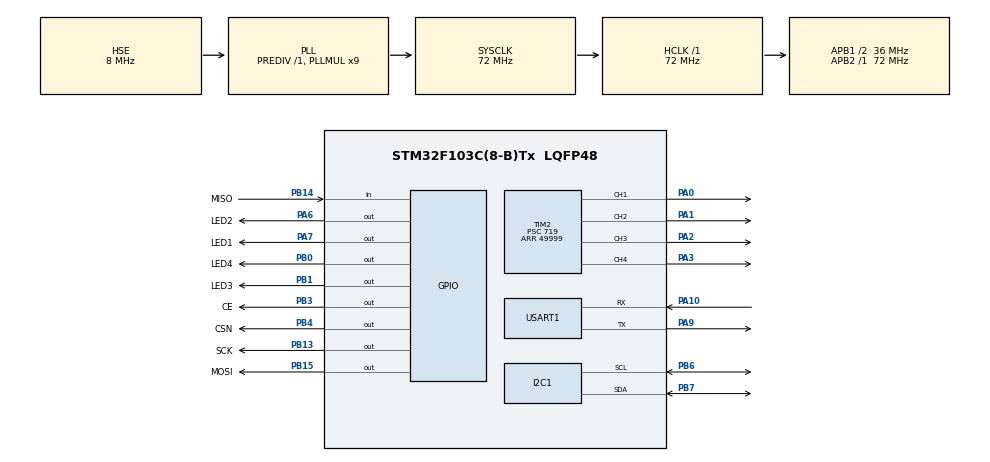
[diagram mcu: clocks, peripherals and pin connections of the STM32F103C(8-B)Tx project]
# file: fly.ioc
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FREERTOS.Tasks01=MPU6050,24,128,MPU6050Task,Default,NULL,Dynamic,NULL,NULL;NRF,8,128,NRFTask,Default,NULL,Dynamic,NULL,NULL;PID,8,128,PIDTask,Default,NULL,Dynamic,NULL,NULL
I2C1.I2C_Mode=I2C_Standard
Mcu.Family=STM32F1
Mcu.Name=STM32F103C(8-B)Tx
Mcu.Package=LQFP48
NVIC.PriorityGroup=NVIC_PRIORITYGROUP_4
PA0-WKUP.Signal=S_TIM2_CH1_ETR
PA1.Signal=S_TIM2_CH2
PA10.Mode=Asynchronous
PA10.Signal=USART1_RX
PA13.Mode=Serial_Wire
PA13.Signal=SYS_JTMS-SWDIO
PA14.Mode=Serial_Wire
PA14.Signal=SYS_JTCK-SWCLK
PA2.Signal=S_TIM2_CH3
PA3.Signal=S_TIM2_CH4
PA6.GPIO_Label=LED2
PA6.PinState=GPIO_PIN_SET
PA6.Signal=GPIO_Output
PA7.GPIO_Label=LED1
PA7.PinState=GPIO_PIN_SET
PA7.Signal=GPIO_Output
PA9.Mode=Asynchronous
PA9.Signal=USART1_TX
PB0.GPIO_Label=LED4
PB0.PinState=GPIO_PIN_SET
PB0.Signal=GPIO_Output
PB1.GPIO_Label=LED3
PB1.PinState=GPIO_PIN_SET
PB1.Signal=GPIO_Output
PB13.GPIO_Label=SCK
PB13.Signal=GPIO_Output
PB14.GPIO_Label=MISO
PB14.GPIO_PuPd=GPIO_PULLUP
PB14.Signal=GPIO_Input
PB15.GPIO_Label=MOSI
PB15.Signal=GPIO_Output
PB3.GPIO_Label=CE
PB3.Signal=GPIO_Output
PB4.GPIO_Label=CSN
PB4.PinState=GPIO_PIN_SET
PB4.Signal=GPIO_Output
PB6.Mode=I2C
PB6.Signal=I2C1_SCL
PB7.Mode=I2C
PB7.Signal=I2C1_SDA
PD0-OSC_IN.Mode=HSE-External-Oscillator
PD0-OSC_IN.Signal=RCC_OSC_IN
PD1-OSC_OUT.Mode=HSE-External-Oscillator
PD1-OSC_OUT.Signal=RCC_OSC_OUT
ProjectManager.HeapSize=0x200
ProjectManager.StackSize=0x400
ProjectManager.TargetToolchain=MDK-ARM V5.32
RCC.AHBFreq_Value=72000000
RCC.APB1CLKDivider=RCC_HCLK_DIV2
RCC.APB1Freq_Value=36000000
RCC.APB1TimFreq_Value=72000000
RCC.APB2Freq_Value=72000000
RCC.APB2TimFreq_Value=72000000
RCC.HCLKFreq_Value=72000000
RCC.PLLMUL=RCC_PLL_MUL9
RCC.PLLSourceVirtual=RCC_PLLSOURCE_HSE
RCC.SYSCLKFreq_VALUE=72000000
RCC.SYSCLKSource=RCC_SYSCLKSOURCE_PLLCLK
RCC.USBFreq_Value=72000000
SH.S_TIM2_CH1_ETR.0=TIM2_CH1,PWM Generation1 CH1
SH.S_TIM2_CH2.0=TIM2_CH2,PWM Generation2 CH2
SH.S_TIM2_CH3.0=TIM2_CH3,PWM Generation3 CH3
SH.S_TIM2_CH4.0=TIM2_CH4,PWM Generation4 CH4
TIM2.AutoReloadPreload=TIM_AUTORELOAD_PRELOAD_ENABLE
TIM2.Channel-PWM\ Generation1\ CH1=TIM_CHANNEL_1
TIM2.Channel-PWM\ Generation2\ CH2=TIM_CHANNEL_2
TIM2.Channel-PWM\ Generation3\ CH3=TIM_CHANNEL_3
TIM2.Channel-PWM\ Generation4\ CH4=TIM_CHANNEL_4
TIM2.OCPolarity_1=TIM_OCPOLARITY_HIGH
TIM2.OCPolarity_2=TIM_OCPOLARITY_HIGH
TIM2.OCPolarity_3=TIM_OCPOLARITY_HIGH
TIM2.OCPolarity_4=TIM_OCPOLARITY_HIGH
TIM2.Period=49999
TIM2.Prescaler=719
USART1.VirtualMode=VM_ASYNC
VP_FREERTOS_VS_CMSIS_V2.Mode=CMSIS_V2
VP_TIM2_VS_ClockSourceINT.Mode=Internal
board=custom

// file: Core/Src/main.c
/* USER CODE BEGIN Header */
/**
  ******************************************************************************
  * @file           : main.c
  * @brief          : Main program body
  ******************************************************************************
  * @attention
  *
  * Copyright (c) 2025 STMicroelectronics.
  * All rights reserved.
  *
  * This software is licensed under terms that can be found in the LICENSE file
  * in the root directory of this software component.
  * If no LICENSE file comes with this software, it is provided AS-IS.
  *
  ******************************************************************************
  */
/* USER CODE END Header */
#include "main.h"
#include "cmsis_os.h"
#include "i2c.h"
#include "tim.h"
#include "usart.h"
#include "gpio.h"

/* USER CODE BEGIN Includes */
#include  "sys.h"
#include "stdio.h"
/* USER CODE END Includes */

void SystemClock_Config(void);
void MX_FREERTOS_Init(void);

int main(void)
{

  /* MCU Configuration--------------------------------------------------------*/

  /* Reset of all peripherals, Initializes the Flash interface and the Systick. */
  HAL_Init();

  /* Configure the system clock */
  SystemClock_Config();

  /* Initialize all configured peripherals */
  MX_GPIO_Init();
  MX_I2C1_Init();
  MX_USART1_UART_Init();
  MX_TIM2_Init();
  /* USER CODE BEGIN 2 */
  HAL_TIM_PWM_Start(&htim2,TIM_CHANNEL_1);
	HAL_TIM_PWM_Start(&htim2,TIM_CHANNEL_2);
	HAL_TIM_PWM_Start(&htim2,TIM_CHANNEL_3);
	HAL_TIM_PWM_Start(&htim2,TIM_CHANNEL_4);

  sys_init();

  printf("init ok\r\n");
  /* USER CODE END 2 */

  /* Init scheduler */
  osKernelInitialize();  /* Call init function for freertos objects (in cmsis_os2.c) */
  MX_FREERTOS_Init();

  /* Start scheduler */
  osKernelStart();

  /* We should never get here as control is now taken by the scheduler */

  /* Infinite loop */
  while (1)
  {

  }
}

void SystemClock_Config(void)
{
  RCC_OscInitTypeDef RCC_OscInitStruct = {0};
  RCC_ClkInitTypeDef RCC_ClkInitStruct = {0};

  /** Initializes the RCC Oscillators according to the specified parameters
  * in the RCC_OscInitTypeDef structure.
  */
  RCC_OscInitStruct.OscillatorType = RCC_OSCILLATORTYPE_HSE;
  RCC_OscInitStruct.HSEState = RCC_HSE_ON;
  RCC_OscInitStruct.HSEPredivValue = RCC_HSE_PREDIV_DIV1;
  RCC_OscInitStruct.HSIState = RCC_HSI_ON;
  RCC_OscInitStruct.PLL.PLLState = RCC_PLL_ON;
  RCC_OscInitStruct.PLL.PLLSource = RCC_PLLSOURCE_HSE;
  RCC_OscInitStruct.PLL.PLLMUL = RCC_PLL_MUL9;
  if (HAL_RCC_OscConfig(&RCC_OscInitStruct) != HAL_OK)
  {
    Error_Handler();
  }

  /** Initializes the CPU, AHB and APB buses clocks
  */
  RCC_ClkInitStruct.ClockType = RCC_CLOCKTYPE_HCLK|RCC_CLOCKTYPE_SYSCLK
                              |RCC_CLOCKTYPE_PCLK1|RCC_CLOCKTYPE_PCLK2;
  RCC_ClkInitStruct.SYSCLKSource = RCC_SYSCLKSOURCE_PLLCLK;
  RCC_ClkInitStruct.AHBCLKDivider = RCC_SYSCLK_DIV1;
  RCC_ClkInitStruct.APB1CLKDivider = RCC_HCLK_DIV2;
  RCC_ClkInitStruct.APB2CLKDivider = RCC_HCLK_DIV1;

  if (HAL_RCC_ClockConfig(&RCC_ClkInitStruct, FLASH_LATENCY_2) != HAL_OK)
  {
    Error_Handler();
  }
}

void Error_Handler(void)
{
  __disable_irq();
  while (1)
  {
  }
}

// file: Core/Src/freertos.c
/* USER CODE BEGIN Header */
/**
  ******************************************************************************
  * File Name          : freertos.c
  * Description        : Code for freertos applications
  ******************************************************************************
  * @attention
  *
  * Copyright (c) 2025 STMicroelectronics.
  * All rights reserved.
  *
  * This software is licensed under terms that can be found in the LICENSE file
  * in the root directory of this software component.
  * If no LICENSE file comes with this software, it is provided AS-IS.
  *
  ******************************************************************************
  */
/* USER CODE END Header */

#include "FreeRTOS.h"
#include "task.h"
#include "main.h"
#include "cmsis_os.h"

/* USER CODE BEGIN Includes */

#include "usart.h"
#include "i2c.h"
#include "sys.h"
#include "stdio.h"
#include "tim.h"
#include <string.h>

/* USER CODE END Includes */

/* USER CODE BEGIN PTD */
//读取MPU6050的数据

uint8_t descent_command = 0U;
uint8_t emergency_stop = 0U;
uint8_t fine_mode = 0U;
//按键状态-模式
void FC_ParseControlFlags(uint8_t switch_cfg)
{
    descent_command =
        (switch_cfg & CTRL_FLAG_DESCENT) != 0U;

    emergency_stop =
        (switch_cfg & CTRL_FLAG_EMERGENCY_STOP) != 0U;

    fine_mode =
        (switch_cfg & CTRL_FLAG_FINE_MODE) != 0U;

}

FC_Packet_t g_CtrlData;

// 记录最后一次收到有效数据的时间
uint32_t Last_Rx_Time = 0;

uint8_t Calculate_Checksum(uint8_t *data, uint8_t len)
{
    uint8_t sum = 0;
    for(uint8_t i = 0; i < len; i++) {
        sum += data[i];
    }
    return sum;
}
//接收数据
uint8_t FC_Receive_Task(void)
{
    uint8_t calc_sum;

    if (NRF24L01_Receive() != 1U)
    {
        return 0U;
    }

    /* 检查帧头 */
    if ((NRF24L01_RxPacket[0] != 0xAAU) ||
        (NRF24L01_RxPacket[1] != 0xAFU))
    {
        return 0U;
    }

    /* 检查校验和 */
    calc_sum = Calculate_Checksum(
        NRF24L01_RxPacket,
        sizeof(FC_Packet_t) - 1U
    );

    if (calc_sum !=
        NRF24L01_RxPacket[sizeof(FC_Packet_t) - 1U])
    {
        return 0U;
    }

    /* 数据包有效，复制到控制结构体 */
    memcpy(
        &g_CtrlData,
        NRF24L01_RxPacket,
        sizeof(FC_Packet_t)
    );

    /* 解析 switch_cfg 中的按键状态 */
    FC_ParseControlFlags(g_CtrlData.switch_cfg);

    /* 更新最后一次收到有效数据的时间 */
    Last_Rx_Time = HAL_GetTick();

    return 1U;
}

/* USER CODE END PTD */

/* Definitions for MPU6050 */
osThreadId_t MPU6050Handle;
const osThreadAttr_t MPU6050_attributes = {
  .name = "MPU6050",
  .stack_size = 128 * 4,
  .priority = (osPriority_t) osPriorityNormal,
};
/* Definitions for NRF */
osThreadId_t NRFHandle;
const osThreadAttr_t NRF_attributes = {
  .name = "NRF",
  .stack_size = 128 * 4,
  .priority = (osPriority_t) osPriorityLow,
};
/* Definitions for PID */

/* USER CODE BEGIN FunctionPrototypes */

//积分时间
uint32_t last_time = 0;
uint8_t dir=1;

// 控制变量
float throttle = 0.0f;      // 油门 0-100%
float target_pitch = 0.0f;  // 目标俯仰角
float target_roll = 0.0f;   // 目标横滚角

uint8_t NRF_ok=0;
uint8_t MPU_ok=0;
uint8_t fly=0;

/* USER CODE END FunctionPrototypes */

void MPU6050Task(void *argument);
void NRFTask(void *argument);

void MX_FREERTOS_Init(void); /* (MISRA C 2004 rule 8.1) */

void MX_FREERTOS_Init(void) {

  /* Create the thread(s) */
  /* creation of MPU6050 */
  MPU6050Handle = osThreadNew(MPU6050Task, NULL, &MPU6050_attributes);

  /* creation of NRF */
  NRFHandle = osThreadNew(NRFTask, NULL, &NRF_attributes);

  /* creation of PID */

}

/* USER CODE BEGIN Header_MPU6050Task */
int16_t motor1, motor2, motor3, motor4;
float motor1_f;
float motor2_f;
float motor3_f;
float motor4_f;
float roll_pwm,pitch_pwm,yaw_pwm;

float base_throttle;
float target_pitch;
float target_roll;
float target_yaw_rate;

uint8_t level_calibrated = 0U;

float control_roll = 0.0f;
float control_pitch = 0.0f;

uint8_t ladrc_active = 0U;
float actual_roll_rate;
float actual_pitch_rate;
float actual_yaw_rate;

/**
  * @brief  Function implementing the MPU6050 thread.
  * @param  argument: Not used
  * @retval None
  */
/* USER CODE END Header_MPU6050Task */
void MPU6050Task(void *argument)
{
  /* USER CODE BEGIN MPU6050Task */
    TickType_t last_wake_tick;
    uint32_t last_update_ms;
    uint32_t now_ms;
    uint32_t elapsed_ms;
    float dt;

    /*
     * 保存任务启动时刻。
     */
    last_wake_tick = xTaskGetTickCount();
    last_update_ms = HAL_GetTick();

		uint16_t settle_count = 0U;
		uint16_t level_sample_count = 0U;

		float level_roll_sum = 0.0f;
		float level_pitch_sum = 0.0f;

		float level_roll_offset = 0.0f;
		float level_pitch_offset = 0.0f;

    float current_applied_roll_pwm=0.0f;
    float current_applied_pitch_pwm=0.0f;
    float current_applied_yaw_pwm=0.0f;

  /* Infinite loop */
  for(;;)
  {
        /*
         * 以绝对时间延时到下一个 5ms 节拍。
         * 与 osDelay(5) 不同，vTaskDelayUntil 会补偿前面
         * I2C读取和姿态计算消耗的时间。
         */
        vTaskDelayUntil(
            &last_wake_tick,
            pdMS_TO_TICKS(5U)
        );
        /*
         * 计算时间差
         */
        now_ms = HAL_GetTick();
        elapsed_ms = now_ms - last_update_ms;
        last_update_ms = now_ms;

        dt = (float)elapsed_ms * 0.001f;

        /*
         * 正常情况下 dt 应在 0.004～0.006 秒附近。
         *
         * 如果因为调试打印、I2C异常或任务阻塞导致 dt 明显异常，
         * 本次不允许使用过大的时间进行积分。
         */
        if ((dt < 0.001f) || (dt > 0.020f))
        {
            dt = 0.005f;
        }

        /*
         * 读取 MPU6050 并更新姿态。
         */
        IMU_UpdateAttitude(dt);

        /* 保存上一周期实际施加的差动量 */
        static float previous_applied_roll_pwm  = 0.0f;
        static float previous_applied_pitch_pwm = 0.0f;
        static float previous_applied_yaw_pwm   = 0.0f;
					//初始化校准
				if (level_calibrated == 0U)
					{
							/*
							 * 前400次只等待Mahony收敛：
							 * 400 × 5ms = 2秒。
							 */
							if (settle_count < 400U)
							{
									settle_count++;
							}
							else
							{
									/*
									 * 再采集400个姿态值求平均。
									 */
									level_roll_sum += attitude.roll;
									level_pitch_sum += attitude.pitch;
									level_sample_count++;

									if (level_sample_count >= 400U)
									{
											level_roll_offset =
													level_roll_sum / 400.0f;

											level_pitch_offset =
													level_pitch_sum / 400.0f;

											level_calibrated = 1U;

									}
							}

					}
				control_roll  =	attitude.roll   - level_roll_offset;
				control_pitch =	attitude.pitch  - level_pitch_offset;

				/*
         * 2. 解析遥控器数据 (映射为期望角度和角速度)
         * 假设摇杆中位1500，转换系数需根据实际手感调整
         */

				target_pitch =
						-((int32_t)g_CtrlData.pitch - 1500) * 0.04f;

				target_roll =
						-((int32_t)g_CtrlData.roll - 1500) * 0.04f;
        target_yaw_rate = 0.0f;

				base_throttle = ((float)g_CtrlData.throttle - 1000.0f) * 3.0;
				base_throttle = constrain(base_throttle, 0.0f, 3000.0f);

				actual_roll_rate  =  (Mpu6050_Data.Gyro_X - MpuOffset.Gyro_X) / 131.0f;
				actual_pitch_rate =  (Mpu6050_Data.Gyro_Y - MpuOffset.Gyro_Y) / 131.0f;
				actual_yaw_rate   =	 (Mpu6050_Data.Gyro_Z - MpuOffset.Gyro_Z) / 131.0f;

        /*
         * 4. 混控器 (Mixer) 与 动力分配
         */

				if ((level_calibrated == 0U) ||
            (emergency_stop != 0U) ||
						(g_CtrlData.throttle < 1050U) ||
						((HAL_GetTick() - Last_Rx_Time) > 300U)
           )
				{

						motor1 = motor2 = motor3 = motor4 = 0;

						yaw_pwm = roll_pwm = pitch_pwm = 0.0f;

						ladrc_active = 0U;
            current_applied_roll_pwm   = 0.0f;
            current_applied_pitch_pwm  = 0.0f;
            current_applied_yaw_pwm    = 0.0f;
            previous_applied_roll_pwm  = 0.0f;
            previous_applied_pitch_pwm = 0.0f;
            previous_applied_yaw_pwm   = 0.0f;

					CascadeLADRC_Reset(
							&flight_ladrc,
							control_roll,
							control_pitch,
							actual_roll_rate,
							actual_pitch_rate,
							actual_yaw_rate
					);
				}
				else
				{
					if (g_CtrlData.throttle <1200U)
							{
									ladrc_active = 0U;
					      	yaw_pwm = roll_pwm = pitch_pwm = 0.0f;
									CascadeLADRC_Reset(
											&flight_ladrc,
											control_roll,
											control_pitch,
											actual_roll_rate,
											actual_pitch_rate,
											actual_yaw_rate
									);
							}
					else
							{
								/*
								 * 第一次进入控制状态时同步观测器。
								 */
								if (ladrc_active == 0U)
								{
										ladrc_active = 1U;

										CascadeLADRC_Reset(
										&flight_ladrc,
										control_roll,
										control_pitch,
										actual_roll_rate,
										actual_pitch_rate,
										actual_yaw_rate
										);
								}

										CascadeLADRC_Update(
										&flight_ladrc,
										target_roll,
										target_pitch,
										target_yaw_rate,
										control_roll,
										control_pitch,
										actual_roll_rate,
										actual_pitch_rate,
										actual_yaw_rate,
                    previous_applied_roll_pwm,
                    previous_applied_pitch_pwm,
										previous_applied_yaw_pwm,
										dt,
										&roll_pwm,
										&pitch_pwm,
										&yaw_pwm
										);
							 }

						/*
						 * X型四旋翼混控。
						 */
						/* 右前 */
						motor1_f = base_throttle + roll_pwm + pitch_pwm + yaw_pwm;

						/* 左前 */
						motor2_f = base_throttle - roll_pwm + pitch_pwm - yaw_pwm;

						/* 右后 */
						motor3_f = base_throttle + roll_pwm - pitch_pwm - yaw_pwm;

						/* 左后 */
						motor4_f = base_throttle - roll_pwm - pitch_pwm + yaw_pwm;

						/*
						 * 最终PWM必须限制在TIM2的0～4000范围。
						 */
						motor1_f = constrain(motor1_f, 0.0f, 4000.0f);

						motor2_f = constrain(motor2_f, 0.0f, 4000.0f);

						motor3_f = constrain(motor3_f, 0.0f, 4000.0f);

						motor4_f = constrain(motor4_f, 0.0f, 4000.0f);

						current_applied_roll_pwm =
								(motor1_f + motor3_f - motor2_f - motor4_f) * 0.25f;

						current_applied_pitch_pwm =
								(motor1_f + motor2_f - motor3_f - motor4_f) * 0.25f;

						current_applied_yaw_pwm =
								(motor1_f + motor4_f - motor2_f - motor3_f) * 0.25f;

						motor1 = (int16_t)motor1_f;//右边上
						motor2 = (int16_t)motor2_f;//左边上
						motor3 = (int16_t)motor3_f;//右边下
						motor4 = (int16_t)motor4_f;//左边下

				}
        /*
         * 更新定时器 PWM 占空比输出给电调
         */
        __HAL_TIM_SET_COMPARE(&htim2, TIM_CHANNEL_1, motor1);
        __HAL_TIM_SET_COMPARE(&htim2, TIM_CHANNEL_2, motor2);
        __HAL_TIM_SET_COMPARE(&htim2, TIM_CHANNEL_3, motor3);
        __HAL_TIM_SET_COMPARE(&htim2, TIM_CHANNEL_4, motor4);

        previous_applied_roll_pwm  = current_applied_roll_pwm;
        previous_applied_pitch_pwm = current_applied_pitch_pwm;
        previous_applied_yaw_pwm   = current_applied_yaw_pwm;
  }
  /* USER CODE END MPU6050Task */
}

void NRFTask(void *argument)
{
  /* USER CODE BEGIN NRFTask */
  /* Infinite loop */
  for(;;)
  {

    if (FC_Receive_Task() != 0U)
    {
//				printf(
//						"ADC P:%u R:%u  TARGET P:%.2f R:%.2f  OUT P:%.2f R:%.2f\r\n",
//						g_CtrlData.pitch,4
//						g_CtrlData.roll,
//						target_pitch,
//						target_roll,
//						pitch_pwm,
//						roll_pwm
//				);
//			 printf(
//       "motor%d,%d\r\n",
//            motor2,
//            motor1
//       );
//			 printf(
//       "motor%d,%d\r\n",
//            motor4,
//						motor3
//       );
    }
    osDelay(20);
  }
  /* USER CODE END NRFTask */
}
